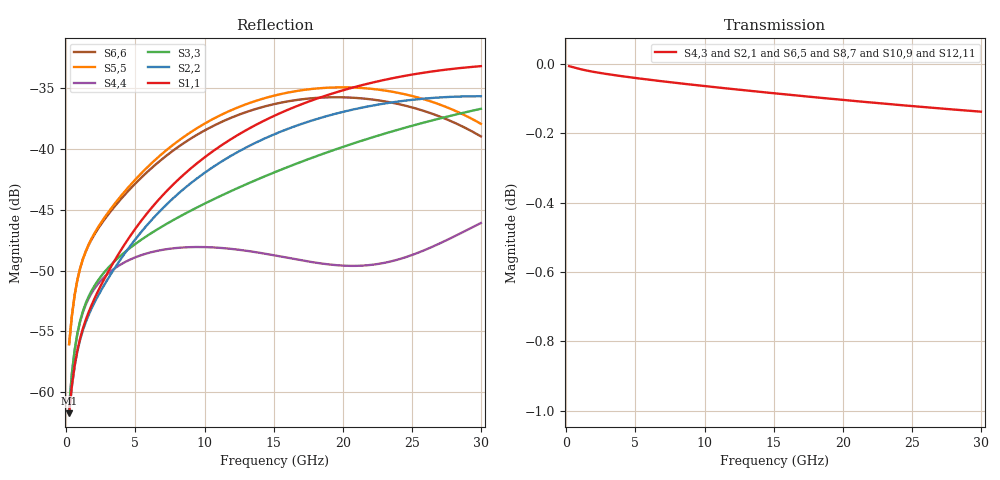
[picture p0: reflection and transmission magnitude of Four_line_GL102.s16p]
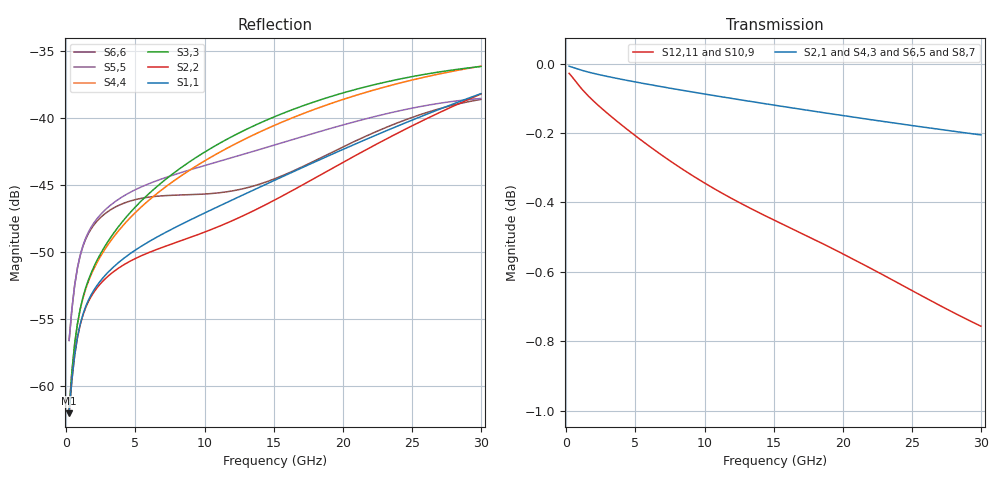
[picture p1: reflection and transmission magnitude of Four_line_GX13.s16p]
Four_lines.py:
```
import matplotlib.pyplot as plt
import skrf as rf
from skrf import Network
import numpy as np

plt.rcParams["font.family"] = "Century Gothic"
plt.rcParams["font.size"] = "14"

SP_GL102 = Network('SP/Four_line_GL102.s16p')
SP_GX13  = Network("SP/Four_line_GX13.s16p")
F = SP_GL102.f[:]

#S11 GL102
plt.figure()
plt.title("GL102")
for x in 0,1,2,3:

    S11_GL102 = SP_GL102.s[:, (4 * x)+1-1, (4 * x)+1-1]
    S33_GL102 = SP_GL102.s[:, (4 * x)+3-1, (4 * x)+3-1]
    S13_GL102 = SP_GL102.s[:, (4 * x)+1-1, (4 * x)+3-1]
    S31_GL102 = SP_GL102.s[:, (4 * x)+3-1, (4 * x)+1-1]
    Sdd11 =20*np.log10((S11_GL102-S13_GL102-S31_GL102+S33_GL102)*0.5)

    if x == 0:
        Legend = "1mm"
    elif x == 1:
        Legend = "2mm"
    elif x ==2:
        Legend = "4mm"
    else:
        Legend = "8mm"

    plt.plot(F, Sdd11, label=Legend, linewidth ='3')
plt.grid()
plt.xlabel('F, Гц')
plt.ylabel('S11, дБ')
plt.legend()

#S11 GX13
plt.figure()
plt.title("GX13")
for x in 0,1,2,3:

    S11_GX13 = SP_GX13.s[:, (4 * x)+1-1, (4 * x)+1-1]
    S33_GX13 = SP_GX13.s[:, (4 * x)+3-1, (4 * x)+3-1]
    S13_GX13 = SP_GX13.s[:, (4 * x)+1-1, (4 * x)+3-1]
    S31_GX13 = SP_GX13.s[:, (4 * x)+3-1, (4 * x)+1-1]
    Sdd11 =20*np.log10((S11_GX13-S13_GX13-S31_GX13+S33_GX13)*0.5)

    if x == 0:
        Legend = "1mm"
    elif x == 1:
        Legend = "2mm"
    elif x ==2:
        Legend = "4mm"
    else:
        Legend = "8mm"

    plt.plot(F, Sdd11, label=Legend, linewidth ='3')
plt.grid()
plt.xlabel('F, Гц')
plt.ylabel('S11, дБ')
plt.legend()


#S21 GL102
plt.figure()
plt.title("GL102")
for x in 0, 1, 2, 3:

    S21_GL102 = SP_GL102.s[:, (4 * x) + 2 - 1, (4 * x) + 1 - 1]
    S41_GL102 = SP_GL102.s[:, (4 * x) + 4 - 1, (4 * x) + 1 - 1]
    S23_GL102 = SP_GL102.s[:, (4 * x) + 2 - 1, (4 * x) + 3 - 1]
    S43_GL102 = SP_GL102.s[:, (4 * x) + 4 - 1, (4 * x) + 3 - 1]
    Sdd21 = 20 * np.log10((S21_GL102 - S41_GL102 - S23_GL102 + S43_GL102) * 0.5)

    if x == 0:
        Legend = "1mm"
    elif x == 1:
        Legend = "2mm"
    elif x == 2:
        Legend = "4mm"
    else:
        Legend = "8mm"

    plt.plot(F, Sdd21, label=Legend, linewidth='3') #S21
plt.grid()
plt.xlabel('F, Гц')
plt.ylabel('S21, дБ')
plt.legend()

#S21 GX13
plt.figure()
plt.title("GX13")
for x in 0, 1, 2, 3:

    S21_GX13 = SP_GX13.s[:, (4 * x) + 2 - 1, (4 * x) + 1 - 1]
    S41_GX13 = SP_GX13.s[:, (4 * x) + 4 - 1, (4 * x) + 1 - 1]
    S23_GX13 = SP_GX13.s[:, (4 * x) + 2 - 1, (4 * x) + 3 - 1]
    S43_GX13 = SP_GX13.s[:, (4 * x) + 4 - 1, (4 * x) + 3 - 1]
    Sdd21 = 20 * np.log10((S21_GX13 - S41_GX13 - S23_GX13 + S43_GX13) * 0.5)

    if x == 0:
        Legend = "1mm"
    elif x == 1:
        Legend = "2mm"
    elif x == 2:
        Legend = "4mm"
    else:
        Legend = "8mm"

    plt.plot(F, Sdd21, label=Legend, linewidth='3') #S21
plt.grid()
plt.xlabel('F, Гц')
plt.ylabel('S21, дБ')
plt.legend()








plt.show()
```
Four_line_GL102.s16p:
! Created Mon Apr 12 13:12:17 2021
! List of port names and net name(s): example Port n = <port_name> <net_name1> <net_name2> ...
! Port 1 = P1 P2 P8
! Port 2 = P2 P2 P8
! Port 3 = P3 P4 P8
! Port 4 = P4 P4 P8
! Port 5 = P9 N__6 N__5
! Port 6 = P10 N__5 N__6
! Port 7 = P11 N__8 N__6
! Port 8 = P12 N__8 N__6
! Port 9 = P17 N__7 N__3
! Port 10 = P18 N__7 N__3
! Port 11 = P19 N__9 N__3
! Port 12 = P20 N__9 N__3
! Port 13 = P25 N__15 N__12
! Port 14 = P26 N__15 N__12
! Port 15 = P27 N__16 N__12
! Port 16 = P28 N__16 N__12
! 16 Port Network Data from data block
! freq  reS1_1  imS1_1  reS1_2  imS1_2  reS1_3  imS1_3  reS1_4  imS1_4
!  reS1_5  imS1_5  reS1_6  imS1_6  reS1_7  imS1_7  reS1_8  imS1_8
!  reS1_9  imS1_9  reS1_10  imS1_10  reS1_11  imS1_11  reS1_12  imS1_12
!  reS1_13  imS1_13  reS1_14  imS1_14  reS1_15  imS1_15  reS1_16  imS1_16
!  reS2_1  imS2_1  reS2_2  imS2_2  reS2_3  imS2_3  reS2_4  imS2_4
!  reS2_5  imS2_5  reS2_6  imS2_6  reS2_7  imS2_7  reS2_8  imS2_8
!  reS2_9  imS2_9  reS2_10  imS2_10  reS2_11  imS2_11  reS2_12  imS2_12
!  reS2_13  imS2_13  reS2_14  imS2_14  reS2_15  imS2_15  reS2_16  imS2_16
!  reS3_1  imS3_1  reS3_2  imS3_2  reS3_3  imS3_3  reS3_4  imS3_4
!  reS3_5  imS3_5  reS3_6  imS3_6  reS3_7  imS3_7  reS3_8  imS3_8
!  reS3_9  imS3_9  reS3_10  imS3_10  reS3_11  imS3_11  reS3_12  imS3_12
!  reS3_13  imS3_13  reS3_14  imS3_14  reS3_15  imS3_15  reS3_16  imS3_16
!  reS4_1  imS4_1  reS4_2  imS4_2  reS4_3  imS4_3  reS4_4  imS4_4
!  reS4_5  imS4_5  reS4_6  imS4_6  reS4_7  imS4_7  reS4_8  imS4_8
!  reS4_9  imS4_9  reS4_10  imS4_10  reS4_11  imS4_11  reS4_12  imS4_12
!  reS4_13  imS4_13  reS4_14  imS4_14  reS4_15  imS4_15  reS4_16  imS4_16
!  reS5_1  imS5_1  reS5_2  imS5_2  reS5_3  imS5_3  reS5_4  imS5_4
!  reS5_5  imS5_5  reS5_6  imS5_6  reS5_7  imS5_7  reS5_8  imS5_8
!  reS5_9  imS5_9  reS5_10  imS5_10  reS5_11  imS5_11  reS5_12  imS5_12
!  reS5_13  imS5_13  reS5_14  imS5_14  reS5_15  imS5_15  reS5_16  imS5_16
!  reS6_1  imS6_1  reS6_2  imS6_2  reS6_3  imS6_3  reS6_4  imS6_4
!  reS6_5  imS6_5  reS6_6  imS6_6  reS6_7  imS6_7  reS6_8  imS6_8
!  reS6_9  imS6_9  reS6_10  imS6_10  reS6_11  imS6_11  reS6_12  imS6_12
!  reS6_13  imS6_13  reS6_14  imS6_14  reS6_15  imS6_15  reS6_16  imS6_16
!  reS7_1  imS7_1  reS7_2  imS7_2  reS7_3  imS7_3  reS7_4  imS7_4
!  reS7_5  imS7_5  reS7_6  imS7_6  reS7_7  imS7_7  reS7_8  imS7_8
!  reS7_9  imS7_9  reS7_10  imS7_10  reS7_11  imS7_11  reS7_12  imS7_12
!  reS7_13  imS7_13  reS7_14  imS7_14  reS7_15  imS7_15  reS7_16  imS7_16
!  reS8_1  imS8_1  reS8_2  imS8_2  reS8_3  imS8_3  reS8_4  imS8_4
!  reS8_5  imS8_5  reS8_6  imS8_6  reS8_7  imS8_7  reS8_8  imS8_8
!  reS8_9  imS8_9  reS8_10  imS8_10  reS8_11  imS8_11  reS8_12  imS8_12
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# hz S ri R 50
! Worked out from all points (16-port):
!   150 points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, 200 MHz to 30 GHz, reference 50 ohm
!   strongest paths, dB at 200 MHz, 7.6 GHz, 15.2 GHz, 22.6 GHz, 30 GHz:
!     S4,3: 0.0, -0.1, -0.1, -0.1, -0.1
!     S2,1: 0.0, -0.1, -0.1, -0.1, -0.1
!     S6,5: 0.0, -0.1, -0.2, -0.2, -0.3
!     S8,7: 0.0, -0.1, -0.2, -0.2, -0.3
!     S10,9: 0.0, -0.2, -0.3, -0.4, -0.5
!     S12,11: 0.0, -0.2, -0.3, -0.4, -0.5
!   lowest |S11| = -61.7 dB at 200 MHz (marker M1), VSWR 1.00, Z = 50.1 + j0.0275 ohm
!   |S11| at or under -10 dB: start of sweep to end of sweep
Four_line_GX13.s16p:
! Created Mon Apr 12 16:08:43 2021
! List of port names and net name(s): example Port n = <port_name> <net_name1> <net_name2> ...
! Port 1 = P1 P2 P8
! Port 2 = P2 P2 P8
! Port 3 = P3 P4 P8
! Port 4 = P4 P4 P8
! Port 5 = P9 N__6 N__5
! Port 6 = P10 N__5 N__6
! Port 7 = P11 N__8 N__6
! Port 8 = P12 N__8 N__6
! Port 9 = P17 N__7 N__3
! Port 10 = P18 N__7 N__3
! Port 11 = P19 N__9 N__3
! Port 12 = P20 N__9 N__3
! Port 13 = P25 N__15 N__12
! Port 14 = P26 N__15 N__12
! Port 15 = P27 N__16 N__12
! Port 16 = P28 N__16 N__12
! 16 Port Network Data from data block
! freq  reS1_1  imS1_1  reS1_2  imS1_2  reS1_3  imS1_3  reS1_4  imS1_4
!  reS1_5  imS1_5  reS1_6  imS1_6  reS1_7  imS1_7  reS1_8  imS1_8
!  reS1_9  imS1_9  reS1_10  imS1_10  reS1_11  imS1_11  reS1_12  imS1_12
!  reS1_13  imS1_13  reS1_14  imS1_14  reS1_15  imS1_15  reS1_16  imS1_16
!  reS2_1  imS2_1  reS2_2  imS2_2  reS2_3  imS2_3  reS2_4  imS2_4
!  reS2_5  imS2_5  reS2_6  imS2_6  reS2_7  imS2_7  reS2_8  imS2_8
!  reS2_9  imS2_9  reS2_10  imS2_10  reS2_11  imS2_11  reS2_12  imS2_12
!  reS2_13  imS2_13  reS2_14  imS2_14  reS2_15  imS2_15  reS2_16  imS2_16
!  reS3_1  imS3_1  reS3_2  imS3_2  reS3_3  imS3_3  reS3_4  imS3_4
!  reS3_5  imS3_5  reS3_6  imS3_6  reS3_7  imS3_7  reS3_8  imS3_8
!  reS3_9  imS3_9  reS3_10  imS3_10  reS3_11  imS3_11  reS3_12  imS3_12
!  reS3_13  imS3_13  reS3_14  imS3_14  reS3_15  imS3_15  reS3_16  imS3_16
!  reS4_1  imS4_1  reS4_2  imS4_2  reS4_3  imS4_3  reS4_4  imS4_4
!  reS4_5  imS4_5  reS4_6  imS4_6  reS4_7  imS4_7  reS4_8  imS4_8
!  reS4_9  imS4_9  reS4_10  imS4_10  reS4_11  imS4_11  reS4_12  imS4_12
!  reS4_13  imS4_13  reS4_14  imS4_14  reS4_15  imS4_15  reS4_16  imS4_16
!  reS5_1  imS5_1  reS5_2  imS5_2  reS5_3  imS5_3  reS5_4  imS5_4
!  reS5_5  imS5_5  reS5_6  imS5_6  reS5_7  imS5_7  reS5_8  imS5_8
!  reS5_9  imS5_9  reS5_10  imS5_10  reS5_11  imS5_11  reS5_12  imS5_12
!  reS5_13  imS5_13  reS5_14  imS5_14  reS5_15  imS5_15  reS5_16  imS5_16
!  reS6_1  imS6_1  reS6_2  imS6_2  reS6_3  imS6_3  reS6_4  imS6_4
!  reS6_5  imS6_5  reS6_6  imS6_6  reS6_7  imS6_7  reS6_8  imS6_8
!  reS6_9  imS6_9  reS6_10  imS6_10  reS6_11  imS6_11  reS6_12  imS6_12
!  reS6_13  imS6_13  reS6_14  imS6_14  reS6_15  imS6_15  reS6_16  imS6_16
!  reS7_1  imS7_1  reS7_2  imS7_2  reS7_3  imS7_3  reS7_4  imS7_4
!  reS7_5  imS7_5  reS7_6  imS7_6  reS7_7  imS7_7  reS7_8  imS7_8
!  reS7_9  imS7_9  reS7_10  imS7_10  reS7_11  imS7_11  reS7_12  imS7_12
!  reS7_13  imS7_13  reS7_14  imS7_14  reS7_15  imS7_15  reS7_16  imS7_16
!  reS8_1  imS8_1  reS8_2  imS8_2  reS8_3  imS8_3  reS8_4  imS8_4
!  reS8_5  imS8_5  reS8_6  imS8_6  reS8_7  imS8_7  reS8_8  imS8_8
!  reS8_9  imS8_9  reS8_10  imS8_10  reS8_11  imS8_11  reS8_12  imS8_12
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# hz S ri R 50
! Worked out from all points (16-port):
!   150 points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, 200 MHz to 30 GHz, reference 50 ohm
!   strongest paths, dB at 200 MHz, 7.6 GHz, 15.2 GHz, 22.6 GHz, 30 GHz:
!     S2,1: 0.0, -0.1, -0.1, -0.2, -0.2
!     S4,3: 0.0, -0.1, -0.1, -0.2, -0.2
!     S6,5: 0.0, -0.1, -0.2, -0.3, -0.4
!     S8,7: 0.0, -0.1, -0.2, -0.3, -0.4
!     S12,11: 0.0, -0.3, -0.5, -0.6, -0.8
!     S10,9: 0.0, -0.3, -0.5, -0.6, -0.8
!   lowest |S11| = -62.0 dB at 200 MHz (marker M1), VSWR 1.00, Z = 50.1 + j0.0343 ohm
!   |S11| at or under -10 dB: start of sweep to end of sweep
